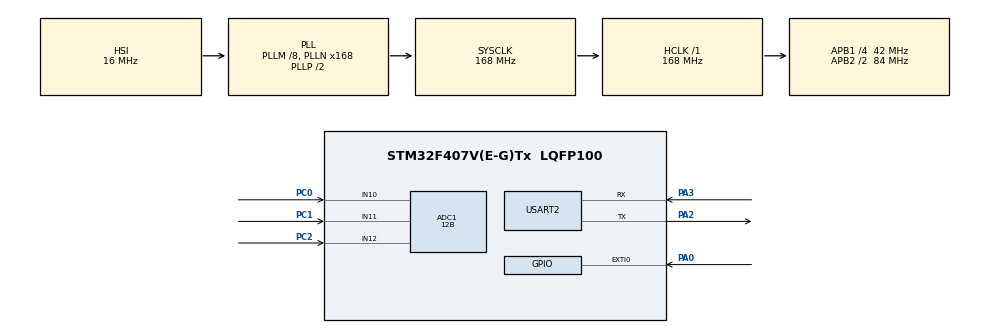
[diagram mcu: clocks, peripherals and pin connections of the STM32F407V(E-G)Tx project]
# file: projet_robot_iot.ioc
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ADC1.Channel-1\#ChannelRegularConversion=ADC_CHANNEL_10
ADC1.Channel-2\#ChannelRegularConversion=ADC_CHANNEL_11
ADC1.Channel-3\#ChannelRegularConversion=ADC_CHANNEL_12
ADC1.ContinuousConvMode=DISABLE
ADC1.DMAContinuousRequests=ENABLE
ADC1.DiscontinuousConvMode=DISABLE
ADC1.ExternalTrigConv=ADC_EXTERNALTRIGCONV_T2_TRGO
ADC1.NbrOfConversion=3
ADC1.NbrOfConversionFlag=1
ADC1.Rank-1\#ChannelRegularConversion=1
ADC1.Rank-2\#ChannelRegularConversion=2
ADC1.Rank-3\#ChannelRegularConversion=3
ADC1.Resolution=ADC_RESOLUTION_12B
ADC1.SamplingTime-1\#ChannelRegularConversion=ADC_SAMPLETIME_3CYCLES
ADC1.SamplingTime-2\#ChannelRegularConversion=ADC_SAMPLETIME_3CYCLES
ADC1.SamplingTime-3\#ChannelRegularConversion=ADC_SAMPLETIME_3CYCLES
ADC1.master=1
Dma.ADC1.1.Direction=DMA_PERIPH_TO_MEMORY
Dma.ADC1.1.FIFOMode=DMA_FIFOMODE_DISABLE
Dma.ADC1.1.Instance=DMA2_Stream0
Dma.ADC1.1.MemDataAlignment=DMA_MDATAALIGN_HALFWORD
Dma.ADC1.1.MemInc=DMA_MINC_ENABLE
Dma.ADC1.1.Mode=DMA_CIRCULAR
Dma.ADC1.1.PeriphDataAlignment=DMA_PDATAALIGN_HALFWORD
Dma.ADC1.1.PeriphInc=DMA_PINC_DISABLE
Dma.ADC1.1.Priority=DMA_PRIORITY_HIGH
Dma.Request0=USART2_RX
Dma.Request1=ADC1
Dma.USART2_RX.0.Direction=DMA_PERIPH_TO_MEMORY
Dma.USART2_RX.0.FIFOMode=DMA_FIFOMODE_DISABLE
Dma.USART2_RX.0.Instance=DMA1_Stream5
Dma.USART2_RX.0.MemDataAlignment=DMA_MDATAALIGN_BYTE
Dma.USART2_RX.0.MemInc=DMA_MINC_ENABLE
Dma.USART2_RX.0.Mode=DMA_NORMAL
Dma.USART2_RX.0.PeriphDataAlignment=DMA_PDATAALIGN_BYTE
Dma.USART2_RX.0.PeriphInc=DMA_PINC_DISABLE
Dma.USART2_RX.0.Priority=DMA_PRIORITY_LOW
Mcu.Family=STM32F4
Mcu.Name=STM32F407V(E-G)Tx
Mcu.Package=LQFP100
NVIC.DMA1_Stream5_IRQn=true\:0\:0\:false\:false\:true\:false\:true\:true
NVIC.DMA2_Stream0_IRQn=true\:0\:0\:false\:false\:true\:false\:true\:true
NVIC.EXTI0_IRQn=true\:0\:0\:false\:false\:true\:true\:true\:true
NVIC.PriorityGroup=NVIC_PRIORITYGROUP_4
NVIC.USART2_IRQn=true\:0\:0\:false\:false\:true\:true\:true\:true
PA0-WKUP.Signal=GPXTI0
PA2.Mode=Asynchronous
PA2.Signal=USART2_TX
PA3.Mode=Asynchronous
PA3.Signal=USART2_RX
PC0.Signal=ADCx_IN10
PC1.Signal=ADCx_IN11
PC2.Signal=ADCx_IN12
ProjectManager.HeapSize=0x200
ProjectManager.StackSize=0x400
ProjectManager.TargetToolchain=STM32CubeIDE
RCC.48MHZClocksFreq_Value=84000000
RCC.AHBFreq_Value=168000000
RCC.APB1CLKDivider=RCC_HCLK_DIV4
RCC.APB1Freq_Value=42000000
RCC.APB1TimFreq_Value=84000000
RCC.APB2CLKDivider=RCC_HCLK_DIV2
RCC.APB2Freq_Value=84000000
RCC.APB2TimFreq_Value=168000000
RCC.CortexFreq_Value=168000000
RCC.HCLKFreq_Value=168000000
RCC.HSE_VALUE=25000000
RCC.HSI_VALUE=16000000
RCC.LSE_VALUE=32768
RCC.PLLM=8
RCC.PLLN=168
RCC.SYSCLKFreq_VALUE=168000000
RCC.SYSCLKSource=RCC_SYSCLKSOURCE_PLLCLK
RCC.VCOOutputFreq_Value=336000000
SH.ADCx_IN10.0=ADC1_IN10,IN10
SH.ADCx_IN11.0=ADC1_IN11,IN11
SH.ADCx_IN12.0=ADC1_IN12,IN12
TIM2.Period=2999
TIM2.Prescaler=15999
TIM2.TIM_MasterOutputTrigger=TIM_TRGO_UPDATE
USART2.VirtualMode=VM_ASYNC
VP_TIM2_VS_ClockSourceINT.Mode=Internal
board=custom

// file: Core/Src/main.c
/* USER CODE BEGIN Header */
/**
  ******************************************************************************
  * @file           : main.c
  * @brief          : Main program body
  ******************************************************************************
  */
/* USER CODE END Header */
#include "main.h"

/* USER CODE BEGIN PM */
#define ESP_UART &huart2
#define HTERM &huart3
#define WIFI_SSID "TOPNET_5ED0"
#define WIFI_PASS "191919982761998"
#define APIKey "H26UVWP20AEFY28B"
/* USER CODE END PM */

ADC_HandleTypeDef hadc1;
DMA_HandleTypeDef hdma_adc1;

TIM_HandleTypeDef htim2;

UART_HandleTypeDef huart2;
DMA_HandleTypeDef hdma_usart2_rx;

/* USER CODE BEGIN PV */
char Buffer_rec[3000];
char cmd_buffer[100];
char THINGSPEAK_REQUEST[150]; // Augmenté pour plus de sécurité

uint16_t ADC_Value[3];
int systemState = 0;
volatile int BOOL1 = 0;

const char Cloud_BEGIN[] = "STARTING_TRANSMIT_DATA_TO_THINGSPEAK\r\n";

// ===== AT Commands =====
const char cmd_at_test[] = "AT\r\n";
const char cmd_at_rst[] = "AT+RST\r\n";
const char cmd_cwmode_1[] = "AT+CWMODE=1\r\n";
const char cmd_cifsr[] = "AT+CIFSR\r\n";
/* USER CODE END PV */

void SystemClock_Config(void);
static void MX_GPIO_Init(void);
static void MX_DMA_Init(void);
static void MX_USART2_UART_Init(void);
static void MX_ADC1_Init(void);
static void MX_TIM2_Init(void);
/* USER CODE BEGIN PFP */
void ESP_Init_Station_Client(void);
void ClearBuffer(char *buffer, int size);
void Transmission_Cloud_THINGSPEAK(void);
/* USER CODE END PFP */

/* USER CODE BEGIN 0 */
void ClearBuffer(char *buffer, int size)
{
    for (int j = 0; j < size; j++) {
        buffer[j] = '\0';
    }
}

void ESP_Init_Station_Client(void) {
    HAL_UART_Transmit(HTERM, (uint8_t*)"WiFi Init Start...\r\n", 20, 1000);

    HAL_UART_Transmit(ESP_UART, (uint8_t*)cmd_at_test, strlen(cmd_at_test), 1000);
    HAL_Delay(1000);

    HAL_UART_Transmit(ESP_UART, (uint8_t*)cmd_at_rst, strlen(cmd_at_rst), 1000);
    HAL_Delay(5000);

    HAL_UART_Transmit(ESP_UART, (uint8_t*)cmd_cwmode_1, strlen(cmd_cwmode_1), 1000);
    HAL_Delay(1000);

    sprintf(cmd_buffer, "AT+CWJAP=\"%s\",\"%s\"\r\n", WIFI_SSID, WIFI_PASS);
    HAL_UART_Transmit(ESP_UART, (uint8_t*)cmd_buffer, strlen(cmd_buffer), 10000);
    HAL_Delay(8000);
    ClearBuffer(cmd_buffer, sizeof(cmd_buffer));

    HAL_UART_Transmit(ESP_UART, (uint8_t*)cmd_cifsr, strlen(cmd_cifsr), 2000);
    HAL_Delay(2000);
}

void Transmission_Cloud_THINGSPEAK(void)
{
    HAL_UART_Transmit(HTERM, (uint8_t *)&Cloud_BEGIN[0], strlen(Cloud_BEGIN), 1000);

    sprintf(cmd_buffer, "AT+CIPSTART=\"TCP\",\"184.106.153.149\",80\r\n");
    HAL_UART_Transmit(ESP_UART, (uint8_t *)&cmd_buffer[0], strlen(cmd_buffer), 1000);
    HAL_Delay(1000);
    ClearBuffer(cmd_buffer, sizeof(cmd_buffer));

    sprintf(THINGSPEAK_REQUEST, "GET /update?api_key=%s&field1=%hu&field2=%hu&field3=%hu\r\n",
            APIKey, ADC_Value[0], ADC_Value[1], ADC_Value[2]);

    sprintf(cmd_buffer, "AT+CIPSEND=%d\r\n", strlen(THINGSPEAK_REQUEST));
    HAL_UART_Transmit(ESP_UART, (uint8_t *)&cmd_buffer[0], strlen(cmd_buffer), 1000);
    HAL_Delay(500);

    HAL_UART_Transmit(ESP_UART, (uint8_t *)&THINGSPEAK_REQUEST[0], strlen(THINGSPEAK_REQUEST), 1000);
    HAL_Delay(1000);
    ClearBuffer(THINGSPEAK_REQUEST, sizeof(THINGSPEAK_REQUEST));
}
/* USER CODE END 0 */

int main(void)
{

  /* MCU Configuration--------------------------------------------------------*/

  /* Reset of all peripherals, Initializes the Flash interface and the Systick. */
  HAL_Init();

  /* Configure the system clock */
  SystemClock_Config();

  /* Initialize all configured peripherals */
  MX_GPIO_Init();
  MX_DMA_Init();
  MX_USART2_UART_Init();
  MX_ADC1_Init();
  MX_TIM2_Init();
  /* USER CODE BEGIN 2 */
  HAL_ADC_Start_DMA(&hadc1, (uint32_t*)ADC_Value, 3);
  HAL_UARTEx_ReceiveToIdle_IT(ESP_UART, (uint8_t *)Buffer_rec, 3000);
  ESP_Init_Station_Client();
  /* USER CODE END 2 */

  /* Infinite loop */
  while (1)
  {

  }
}

void SystemClock_Config(void)
{
  RCC_OscInitTypeDef RCC_OscInitStruct = {0};
  RCC_ClkInitTypeDef RCC_ClkInitStruct = {0};

  /** Configure the main internal regulator output voltage
  */
  __HAL_RCC_PWR_CLK_ENABLE();
  __HAL_PWR_VOLTAGESCALING_CONFIG(PWR_REGULATOR_VOLTAGE_SCALE1);

  /** Initializes the RCC Oscillators according to the specified parameters
  * in the RCC_OscInitTypeDef structure.
  */
  RCC_OscInitStruct.OscillatorType = RCC_OSCILLATORTYPE_HSI;
  RCC_OscInitStruct.HSIState = RCC_HSI_ON;
  RCC_OscInitStruct.HSICalibrationValue = RCC_HSICALIBRATION_DEFAULT;
  RCC_OscInitStruct.PLL.PLLState = RCC_PLL_ON;
  RCC_OscInitStruct.PLL.PLLSource = RCC_PLLSOURCE_HSI;
  RCC_OscInitStruct.PLL.PLLM = 8;
  RCC_OscInitStruct.PLL.PLLN = 168;
  RCC_OscInitStruct.PLL.PLLP = RCC_PLLP_DIV2;
  RCC_OscInitStruct.PLL.PLLQ = 4;
  if (HAL_RCC_OscConfig(&RCC_OscInitStruct) != HAL_OK)
  {
    Error_Handler();
  }

  /** Initializes the CPU, AHB and APB buses clocks
  */
  RCC_ClkInitStruct.ClockType = RCC_CLOCKTYPE_HCLK|RCC_CLOCKTYPE_SYSCLK
                              |RCC_CLOCKTYPE_PCLK1|RCC_CLOCKTYPE_PCLK2;
  RCC_ClkInitStruct.SYSCLKSource = RCC_SYSCLKSOURCE_PLLCLK;
  RCC_ClkInitStruct.AHBCLKDivider = RCC_SYSCLK_DIV1;
  RCC_ClkInitStruct.APB1CLKDivider = RCC_HCLK_DIV4;
  RCC_ClkInitStruct.APB2CLKDivider = RCC_HCLK_DIV2;

  if (HAL_RCC_ClockConfig(&RCC_ClkInitStruct, FLASH_LATENCY_5) != HAL_OK)
  {
    Error_Handler();
  }
}

static void MX_ADC1_Init(void)
{

  ADC_ChannelConfTypeDef sConfig = {0};

  /** Configure the global features of the ADC (Clock, Resolution, Data Alignment and number of conversion)
  */
  hadc1.Instance = ADC1;
  hadc1.Init.ClockPrescaler = ADC_CLOCK_SYNC_PCLK_DIV4;
  hadc1.Init.Resolution = ADC_RESOLUTION_12B;
  hadc1.Init.ScanConvMode = ENABLE;
  hadc1.Init.ContinuousConvMode = DISABLE;
  hadc1.Init.DiscontinuousConvMode = DISABLE;
  hadc1.Init.ExternalTrigConvEdge = ADC_EXTERNALTRIGCONVEDGE_RISING;
  hadc1.Init.ExternalTrigConv = ADC_EXTERNALTRIGCONV_T2_TRGO;
  hadc1.Init.DataAlign = ADC_DATAALIGN_RIGHT;
  hadc1.Init.NbrOfConversion = 3;
  hadc1.Init.DMAContinuousRequests = ENABLE;
  hadc1.Init.EOCSelection = ADC_EOC_SINGLE_CONV;
  if (HAL_ADC_Init(&hadc1) != HAL_OK)
  {
    Error_Handler();
  }

  /** Configure for the selected ADC regular channel its corresponding rank in the sequencer and its sample time.
  */
  sConfig.Channel = ADC_CHANNEL_10;
  sConfig.Rank = 1;
  sConfig.SamplingTime = ADC_SAMPLETIME_3CYCLES;
  if (HAL_ADC_ConfigChannel(&hadc1, &sConfig) != HAL_OK)
  {
    Error_Handler();
  }

  /** Configure for the selected ADC regular channel its corresponding rank in the sequencer and its sample time.
  */
  sConfig.Channel = ADC_CHANNEL_11;
  sConfig.Rank = 2;
  if (HAL_ADC_ConfigChannel(&hadc1, &sConfig) != HAL_OK)
  {
    Error_Handler();
  }

  /** Configure for the selected ADC regular channel its corresponding rank in the sequencer and its sample time.
  */
  sConfig.Channel = ADC_CHANNEL_12;
  sConfig.Rank = 3;
  if (HAL_ADC_ConfigChannel(&hadc1, &sConfig) != HAL_OK)
  {
    Error_Handler();
  }

}

static void MX_TIM2_Init(void)
{

  TIM_ClockConfigTypeDef sClockSourceConfig = {0};
  TIM_MasterConfigTypeDef sMasterConfig = {0};

  htim2.Instance = TIM2;
  htim2.Init.Prescaler = 15999;
  htim2.Init.CounterMode = TIM_COUNTERMODE_UP;
  htim2.Init.Period = 2999;
  htim2.Init.ClockDivision = TIM_CLOCKDIVISION_DIV1;
  htim2.Init.AutoReloadPreload = TIM_AUTORELOAD_PRELOAD_DISABLE;
  if (HAL_TIM_Base_Init(&htim2) != HAL_OK)
  {
    Error_Handler();
  }
  sClockSourceConfig.ClockSource = TIM_CLOCKSOURCE_INTERNAL;
  if (HAL_TIM_ConfigClockSource(&htim2, &sClockSourceConfig) != HAL_OK)
  {
    Error_Handler();
  }
  sMasterConfig.MasterOutputTrigger = TIM_TRGO_UPDATE;
  sMasterConfig.MasterSlaveMode = TIM_MASTERSLAVEMODE_DISABLE;
  if (HAL_TIMEx_MasterConfigSynchronization(&htim2, &sMasterConfig) != HAL_OK)
  {
    Error_Handler();
  }

}

static void MX_USART2_UART_Init(void)
{

  huart2.Instance = USART2;
  huart2.Init.BaudRate = 115200;
  huart2.Init.WordLength = UART_WORDLENGTH_8B;
  huart2.Init.StopBits = UART_STOPBITS_1;
  huart2.Init.Parity = UART_PARITY_NONE;
  huart2.Init.Mode = UART_MODE_TX_RX;
  huart2.Init.HwFlowCtl = UART_HWCONTROL_NONE;
  huart2.Init.OverSampling = UART_OVERSAMPLING_16;
  if (HAL_UART_Init(&huart2) != HAL_OK)
  {
    Error_Handler();
  }

}

static void MX_DMA_Init(void)
{

  /* DMA controller clock enable */
  __HAL_RCC_DMA1_CLK_ENABLE();
  __HAL_RCC_DMA2_CLK_ENABLE();

  /* DMA interrupt init */
  /* DMA1_Stream5_IRQn interrupt configuration */
  HAL_NVIC_SetPriority(DMA1_Stream5_IRQn, 0, 0);
  HAL_NVIC_EnableIRQ(DMA1_Stream5_IRQn);
  /* DMA2_Stream0_IRQn interrupt configuration */
  HAL_NVIC_SetPriority(DMA2_Stream0_IRQn, 0, 0);
  HAL_NVIC_EnableIRQ(DMA2_Stream0_IRQn);

}

static void MX_GPIO_Init(void)
{
  GPIO_InitTypeDef GPIO_InitStruct = {0};

  /* GPIO Ports Clock Enable */
  __HAL_RCC_GPIOC_CLK_ENABLE();
  __HAL_RCC_GPIOA_CLK_ENABLE();

  /*Configure GPIO pin : PA0 */
  GPIO_InitStruct.Pin = GPIO_PIN_0;
  GPIO_InitStruct.Mode = GPIO_MODE_IT_RISING;
  GPIO_InitStruct.Pull = GPIO_NOPULL;
  HAL_GPIO_Init(GPIOA, &GPIO_InitStruct);

  /* EXTI interrupt init*/
  HAL_NVIC_SetPriority(EXTI0_IRQn, 0, 0);
  HAL_NVIC_EnableIRQ(EXTI0_IRQn);

}

void Error_Handler(void)
{
  __disable_irq();
  while (1)
  {
  }
}
